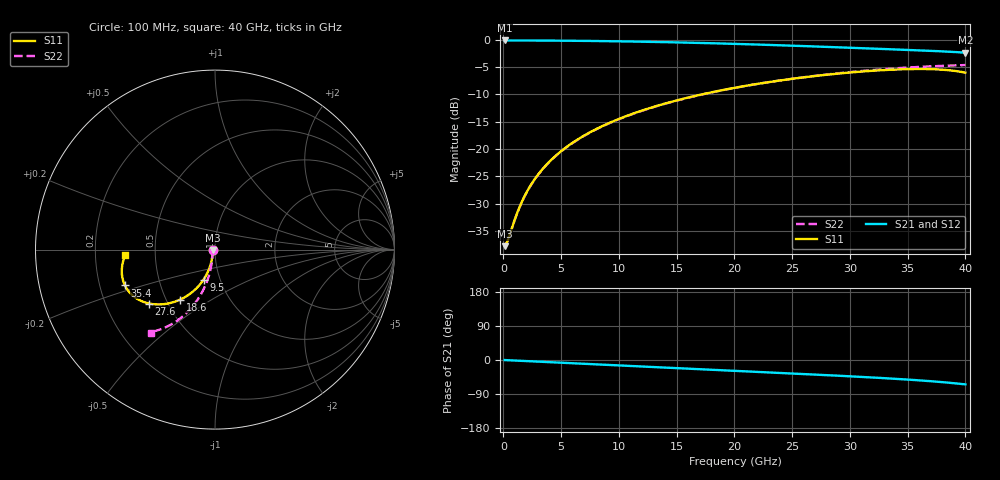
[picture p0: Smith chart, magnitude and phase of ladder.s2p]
! B_s8_L1L3_bd_d300: via ladder as kisi uses it (kisi_si::via_pbm, graded grid, junction model), ports at the via
# Hz S RI R 50
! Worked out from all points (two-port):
!   400 points, 100 MHz to 40 GHz, reference 50 ohm
!   highest |S21| = -0.11 dB at 100 MHz (marker M1); lowest = -2.4 dB at 40 GHz (marker M2)
!   |S21| within 3 dB of the highest: start of sweep to end of sweep
!   lowest |S11| = -37.8 dB at 100 MHz (marker M3), VSWR 1.03, Z = 48.7 - j0.181 ohm
!   |S11| at or under -10 dB: start of sweep to 17.16 GHz
!   |S22| runs from -37.8 to -4.6 dB; largest |S21 - S12| = 0
!   S11 on the Smith chart (normalised r, x): 100 MHz: 0.97, -0.00; 9.5 GHz: 0.83, -0.29; 18.6 GHz: 0.59, -0.37; 27.6 GHz: 0.40, -0.31; 35.4 GHz: 0.31, -0.17; 40 GHz: 0.33, -0.03
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1e8  -0.0128 -0.00186  0.9872 -0.00245  0.9872 -0.00245  -0.0128 -0.00187
4e8  -0.0128 -0.00744  0.9872 -0.00978  0.9872 -0.00978  -0.0128 -0.00747
1.1e9  -0.0135 -0.0205  0.9867 -0.0269  0.9867 -0.0269  -0.0132 -0.0205
1.6e9  -0.0142 -0.0297  0.986 -0.0391  0.986 -0.0391  -0.0136 -0.0299
2.1e9  -0.0153 -0.039  0.9851 -0.0513  0.9851 -0.0513  -0.0143 -0.0392
2.7e9  -0.017 -0.0501  0.9837 -0.0659  0.9837 -0.0659  -0.0152 -0.0503
3.5e9  -0.0198 -0.0647  0.9814 -0.0853  0.9814 -0.0853  -0.0169 -0.0652
4.5e9  -0.0245 -0.0828  0.9775 -0.1094  0.9775 -0.1094  -0.0196 -0.0836
5.6e9  -0.0308 -0.1024  0.9722 -0.1357  0.9722 -0.1357  -0.0234 -0.1037
6.8e9  -0.0393 -0.1232  0.9652 -0.1641  0.9652 -0.1641  -0.0284 -0.1255
9.5e9  -0.064 -0.1677  0.9445 -0.2264  0.9445 -0.2264  -0.0432 -0.1733
1.34e10  -0.1121 -0.2239  0.9036 -0.3113  0.9036 -0.3113  -0.0725 -0.2386
1.86e10  -0.1952 -0.279  0.8311 -0.4122  0.8311 -0.4122  -0.1245 -0.3159
2.01e10  -0.2222 -0.2898  0.807 -0.4384  0.807 -0.4384  -0.1418 -0.3356
2.35e10  -0.2867 -0.3042  0.7476 -0.4924  0.7476 -0.4924  -0.1838 -0.3753
2.67e10  -0.3496 -0.3034  0.6867 -0.537  0.6867 -0.537  -0.2255 -0.4058
2.76e10  -0.3673 -0.3003  0.6688 -0.5486  0.6688 -0.5486  -0.2373 -0.4131
3.07e10  -0.4266 -0.2784  0.6039 -0.5858  0.6039 -0.5858  -0.2775 -0.4339
3.34e10  -0.4735 -0.2416  0.5422 -0.6162  0.5422 -0.6162  -0.31 -0.4464
3.54e10  -0.5017 -0.1998  0.4911 -0.6385  0.4911 -0.6385  -0.331 -0.4528
3.8e10  -0.5194 -0.1192  0.4114 -0.6678  0.4114 -0.6678  -0.3512 -0.459
4e10  -0.4994 -0.0303  0.3298 -0.6876  0.3298 -0.6876  -0.3581 -0.4661
